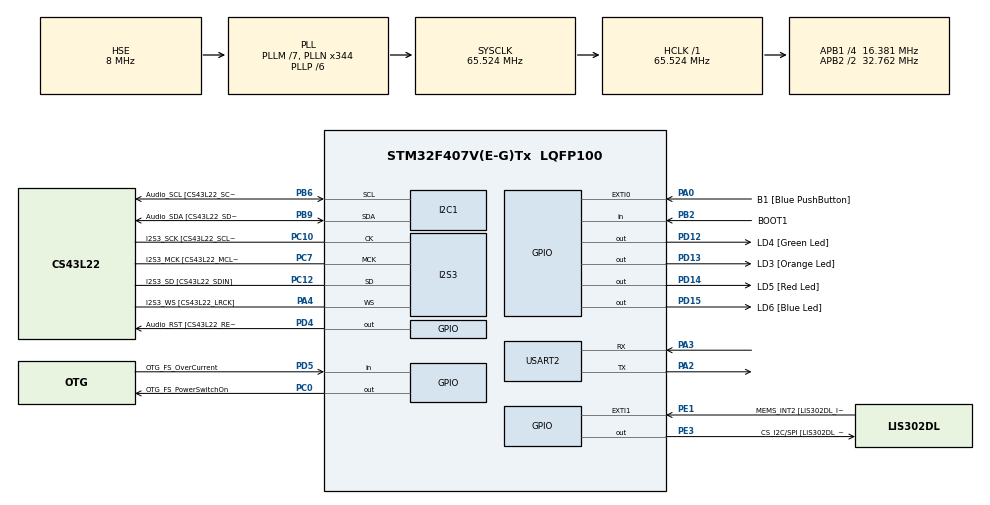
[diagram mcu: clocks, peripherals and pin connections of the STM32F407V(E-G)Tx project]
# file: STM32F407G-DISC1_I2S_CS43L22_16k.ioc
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Dma.Request0=SPI3_TX
Dma.SPI3_TX.0.Direction=DMA_MEMORY_TO_PERIPH
Dma.SPI3_TX.0.FIFOMode=DMA_FIFOMODE_DISABLE
Dma.SPI3_TX.0.Instance=DMA1_Stream5
Dma.SPI3_TX.0.MemDataAlignment=DMA_MDATAALIGN_HALFWORD
Dma.SPI3_TX.0.MemInc=DMA_MINC_ENABLE
Dma.SPI3_TX.0.Mode=DMA_CIRCULAR
Dma.SPI3_TX.0.PeriphDataAlignment=DMA_PDATAALIGN_HALFWORD
Dma.SPI3_TX.0.PeriphInc=DMA_PINC_DISABLE
Dma.SPI3_TX.0.Priority=DMA_PRIORITY_LOW
I2S3.AudioFreq=I2S_AUDIOFREQ_16K
I2S3.AudioFreq-Half_Duplex_Master=I2S_AUDIOFREQ_96K
I2S3.ErrorAudioFreq=-0.01 %
I2S3.ErrorAudioFreq-Half_Duplex_Master=0.8 %
I2S3.FullDuplexMode=I2S_FULLDUPLEXMODE_DISABLE
I2S3.Instance=SPI$Index
I2S3.RealAudioFreq=15.997 KHz
I2S3.RealAudioFreq-Half_Duplex_Master=96.774 KHz
I2S3.VirtualMode=I2S_MODE_MASTER
Mcu.Family=STM32F4
Mcu.Name=STM32F407V(E-G)Tx
Mcu.Package=LQFP100
NVIC.DMA1_Stream5_IRQn=true\:0\:0\:false\:false\:true\:false\:true\:true
NVIC.PriorityGroup=NVIC_PRIORITYGROUP_0
PA0-WKUP.GPIO_Label=B1 [Blue PushButton]
PA0-WKUP.GPIO_ModeDefaultEXTI=GPIO_MODE_EVT_RISING
PA0-WKUP.GPIO_PuPd=GPIO_NOPULL
PA0-WKUP.Signal=GPXTI0
PA13.GPIO_Label=SWDIO
PA13.Mode=Trace_Asynchronous_SW
PA13.Signal=SYS_JTMS-SWDIO
PA14.GPIO_Label=SWCLK
PA14.Mode=Trace_Asynchronous_SW
PA14.Signal=SYS_JTCK-SWCLK
PA2.Mode=Asynchronous
PA2.Signal=USART2_TX
PA3.Mode=Asynchronous
PA3.Signal=USART2_RX
PA4.GPIO_Label=I2S3_WS [CS43L22_LRCK]
PA4.GPIO_Mode=GPIO_MODE_AF_PP
PA4.GPIO_PuPd=GPIO_NOPULL
PA4.GPIO_Speed=GPIO_SPEED_FREQ_LOW
PA4.Mode=Half_Duplex_Master
PA4.Signal=I2S3_WS
PA5.GPIO_Label=SPI1_SCK [LIS302DL_SCL/SPC]
PA5.GPIO_Mode=GPIO_MODE_AF_PP
PA5.GPIO_PuPd=GPIO_NOPULL
PA5.GPIO_Speed=GPIO_SPEED_FREQ_LOW
PA5.Signal=SPI1_SCK
PA6.GPIO_Label=SPI1_MISO [LIS302DL_SDO]
PA6.GPIO_Mode=GPIO_MODE_AF_PP
PA6.GPIO_PuPd=GPIO_NOPULL
PA6.GPIO_Speed=GPIO_SPEED_FREQ_LOW
PA6.Signal=SPI1_MISO
PA7.GPIO_Label=SPI1_MOSI [LIS302DL_SDA/SDI/SDO]
PA7.GPIO_Mode=GPIO_MODE_AF_PP
PA7.GPIO_PuPd=GPIO_NOPULL
PA7.GPIO_Speed=GPIO_SPEED_FREQ_LOW
PA7.Signal=SPI1_MOSI
PB10.GPIO_Label=CLK_IN [MP45DT02_CLK]
PB10.GPIO_Mode=GPIO_MODE_AF_PP
PB10.GPIO_PuPd=GPIO_NOPULL
PB10.GPIO_Speed=GPIO_SPEED_FREQ_LOW
PB10.Signal=I2S2_CK
PB2.GPIO_Label=BOOT1
PB2.GPIO_Mode=GPIO_MODE_INPUT
PB2.GPIO_PuPd=GPIO_NOPULL
PB2.Signal=GPIO_Input
PB3.GPIO_Label=SWO
PB3.Mode=Trace_Asynchronous_SW
PB3.Signal=SYS_JTDO-SWO
PB6.GPIO_Label=Audio_SCL [CS43L22_SCL]
PB6.GPIO_Mode=GPIO_MODE_AF_OD
PB6.GPIO_Pu=GPIO_PULLUP
PB6.GPIO_PuPd=GPIO_NOPULL
PB6.GPIO_Speed=GPIO_SPEED_FREQ_LOW
PB6.Mode=I2C
PB6.Signal=I2C1_SCL
PB9.GPIO_Label=Audio_SDA [CS43L22_SDA]
PB9.GPIO_Mode=GPIO_MODE_AF_OD
PB9.GPIO_Pu=GPIO_PULLUP
PB9.GPIO_PuPd=GPIO_NOPULL
PB9.GPIO_Speed=GPIO_SPEED_FREQ_LOW
PB9.Mode=I2C
PB9.Signal=I2C1_SDA
PC0.GPIO_Label=OTG_FS_PowerSwitchOn
PC0.GPIO_PuPd=GPIO_NOPULL
PC0.GPIO_Speed=GPIO_SPEED_FREQ_LOW
PC0.PinState=GPIO_PIN_SET
PC0.Signal=GPIO_Output
PC10.GPIO_Label=I2S3_SCK [CS43L22_SCLK]
PC10.GPIO_Mode=GPIO_MODE_AF_PP
PC10.GPIO_PuPd=GPIO_NOPULL
PC10.GPIO_Speed=GPIO_SPEED_FREQ_LOW
PC10.Mode=Half_Duplex_Master
PC10.Signal=I2S3_CK
PC12.GPIO_Label=I2S3_SD [CS43L22_SDIN]
PC12.GPIO_Mode=GPIO_MODE_AF_PP
PC12.GPIO_PuPd=GPIO_NOPULL
PC12.GPIO_Speed=GPIO_SPEED_FREQ_LOW
PC12.Mode=Half_Duplex_Master
PC12.Signal=I2S3_SD
PC14-OSC32_IN.GPIO_Label=PC14-OSC32_IN
PC14-OSC32_IN.Mode=LSE-External-Oscillator
PC14-OSC32_IN.Signal=RCC_OSC32_IN
PC15-OSC32_OUT.GPIO_Label=PC15-OSC32_OUT
PC15-OSC32_OUT.Mode=LSE-External-Oscillator
PC15-OSC32_OUT.Signal=RCC_OSC32_OUT
PC3.GPIO_Label=PDM_OUT [MP45DT02_DOUT]
PC3.GPIO_Mode=GPIO_MODE_AF_PP
PC3.GPIO_PuPd=GPIO_NOPULL
PC3.GPIO_Speed=GPIO_SPEED_FREQ_LOW
PC3.Signal=I2S2_SD
PC7.GPIO_Label=I2S3_MCK [CS43L22_MCLK]
PC7.GPIO_Mode=GPIO_MODE_AF_PP
PC7.GPIO_PuPd=GPIO_NOPULL
PC7.GPIO_Speed=GPIO_SPEED_FREQ_LOW
PC7.Mode=Master_Clock_Activated
PC7.Signal=I2S3_MCK
PD12.GPIO_Label=LD4 [Green Led]
PD12.GPIO_PuPd=GPIO_NOPULL
PD12.GPIO_Speed=GPIO_SPEED_FREQ_LOW
PD12.Signal=GPIO_Output
PD13.GPIO_Label=LD3 [Orange Led]
PD13.GPIO_PuPd=GPIO_NOPULL
PD13.GPIO_Speed=GPIO_SPEED_FREQ_LOW
PD13.Signal=GPIO_Output
PD14.GPIO_Label=LD5 [Red Led]
PD14.GPIO_PuPd=GPIO_NOPULL
PD14.GPIO_Speed=GPIO_SPEED_FREQ_LOW
PD14.Signal=GPIO_Output
PD15.GPIO_Label=LD6 [Blue Led]
PD15.GPIO_PuPd=GPIO_NOPULL
PD15.GPIO_Speed=GPIO_SPEED_FREQ_LOW
PD15.Signal=GPIO_Output
PD4.GPIO_Label=Audio_RST [CS43L22_RESET]
PD4.GPIO_PuPd=GPIO_NOPULL
PD4.GPIO_Speed=GPIO_SPEED_FREQ_LOW
PD4.Signal=GPIO_Output
PD5.GPIO_Label=OTG_FS_OverCurrent
PD5.GPIO_Mode=GPIO_MODE_INPUT
PD5.GPIO_PuPd=GPIO_NOPULL
PD5.Signal=GPIO_Input
PE1.GPIO_Label=MEMS_INT2 [LIS302DL_INT2]
PE1.GPIO_ModeDefaultEXTI=GPIO_MODE_EVT_RISING
PE1.GPIO_PuPd=GPIO_NOPULL
PE1.Signal=GPXTI1
PE3.GPIO_Label=CS_I2C/SPI [LIS302DL_CS_I2C/SPI]
PE3.GPIO_PuPd=GPIO_NOPULL
PE3.GPIO_Speed=GPIO_SPEED_FREQ_LOW
PE3.Signal=GPIO_Output
PH0-OSC_IN.GPIO_Label=PH0-OSC_IN
PH0-OSC_IN.Mode=HSE-External-Oscillator
PH0-OSC_IN.Signal=RCC_OSC_IN
PH1-OSC_OUT.GPIO_Label=PH1-OSC_OUT
PH1-OSC_OUT.Mode=HSE-External-Oscillator
PH1-OSC_OUT.Signal=RCC_OSC_OUT
ProjectManager.HeapSize=0x200
ProjectManager.StackSize=0x400
ProjectManager.TargetToolchain=STM32CubeIDE
RCC.48MHZClocksFreq_Value=56163265.30612246
RCC.AHBFreq_Value=65523809.52380953
RCC.APB1CLKDivider=RCC_HCLK_DIV4
RCC.APB1Freq_Value=16380952.380952382
RCC.APB1TimFreq_Value=32761904.761904765
RCC.APB2CLKDivider=RCC_HCLK_DIV2
RCC.APB2Freq_Value=32761904.761904765
RCC.APB2TimFreq_Value=65523809.52380953
RCC.CortexFreq_Value=65523809.52380953
RCC.HCLKFreq_Value=65523809.52380953
RCC.HSE_VALUE=8000000
RCC.HSI_VALUE=16000000
RCC.PLLI2SN=344
RCC.PLLI2SR=6
RCC.PLLM=7
RCC.PLLN=344
RCC.PLLP=RCC_PLLP_DIV6
RCC.PLLQ=7
RCC.PLLSourceVirtual=RCC_PLLSOURCE_HSE
RCC.SYSCLKFreq_VALUE=65523809.52380953
RCC.SYSCLKSource=RCC_SYSCLKSOURCE_PLLCLK
RCC.VCOOutputFreq_Value=393142857.1428572
USART2.VirtualMode=VM_ASYNC
board=STM32F407G-DISC1

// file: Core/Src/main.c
/* USER CODE BEGIN Header */
/**
 ******************************************************************************
 * @file           : main.c
 * @brief          : Main program body
 ******************************************************************************
 * @attention
 *
 * Copyright (c) 2021 STMicroelectronics.
 * All rights reserved.
 *
 * This software is licensed under terms that can be found in the LICENSE file
 * in the root directory of this software component.
 * If no LICENSE file comes with this software, it is provided AS-IS.
 *
 ******************************************************************************
 */
/* USER CODE END Header */
#include "main.h"

/* USER CODE BEGIN Includes */

#include <stdio.h>
#include "MY_CS43L22.h"
#include <math.h>

/* USER CODE END Includes */

 I2C_HandleTypeDef hi2c1;

I2S_HandleTypeDef hi2s3;
DMA_HandleTypeDef hdma_spi3_tx;

UART_HandleTypeDef huart2;

/* USER CODE BEGIN PV */

#define PI 3.14159f

//Sample rate and Output freq
#define F_SAMPLE		16000.0f
#define F_OUT			2000.0f

float mySinVal;
float sample_dt;
uint16_t sample_N;
uint16_t i_t;

uint32_t myDacVal;

int16_t dataI2S[100];

/* USER CODE END PV */

void SystemClock_Config(void);
static void MX_GPIO_Init(void);
static void MX_I2C1_Init(void);
static void MX_DMA_Init(void);
static void MX_I2S3_Init(void);
static void MX_USART2_UART_Init(void);
/* USER CODE BEGIN PFP */

#define PUTCHAR_PROTOTYPE int __io_putchar(int ch)

/* USER CODE END PFP */

/* USER CODE BEGIN 0 */

float mySinVal;
float sample_dt;
uint16_t sample_N;
uint16_t i_t;

uint32_t myDacVal;

int16_t dataI2S[100];
/* USER CODE END 0 */

int main(void)
{
  /* USER CODE BEGIN 1 */

	sample_dt = F_OUT/F_SAMPLE;
	sample_N = F_SAMPLE/F_OUT;

  /* USER CODE END 1 */

  /* MCU Configuration--------------------------------------------------------*/

  /* Reset of all peripherals, Initializes the Flash interface and the Systick. */
  HAL_Init();

  /* Configure the system clock */
  SystemClock_Config();

  /* Initialize all configured peripherals */
  MX_GPIO_Init();
  MX_I2C1_Init();
  MX_DMA_Init();
  MX_I2S3_Init();
  MX_USART2_UART_Init();
  /* USER CODE BEGIN 2 */

	CS43_Init(hi2c1, MODE_I2S);
	CS43_SetVolume(40); //0 - 100,, 40
	CS43_Enable_RightLeft(CS43_RIGHT_LEFT);
	CS43_Start();

	//Build Sine wave
	printf("STM32F407G-DISC1_I2S_CS43L22_16k\n");
	printf("Sine wave using (int) ((mySinVal) * 8000) & sample_N = 16kHz samplnig rate\n");
	for(uint16_t i = 0; i < sample_N ; i++)
	{
		mySinVal = sinf(i*2*PI*sample_dt);
		dataI2S[i*2] = (mySinVal) * 8000;    //Right data (0 2 4 6 8 10 12 ... )
		dataI2S[i*2 + 1] = (mySinVal) * 8000; //Left data  (1 3 5 7 9 11 13 ... )
		printf("%d %d\n", i, (int)((mySinVal) * 8000) );
	}

	HAL_I2S_Transmit_DMA(&hi2s3, (uint16_t *)dataI2S, sample_N*2);

  /* USER CODE END 2 */

  /* Infinite loop */
	while (1) {

	}
}

void SystemClock_Config(void)
{
  RCC_OscInitTypeDef RCC_OscInitStruct = {0};
  RCC_ClkInitTypeDef RCC_ClkInitStruct = {0};

  /** Configure the main internal regulator output voltage
  */
  __HAL_RCC_PWR_CLK_ENABLE();
  __HAL_PWR_VOLTAGESCALING_CONFIG(PWR_REGULATOR_VOLTAGE_SCALE1);

  /** Initializes the RCC Oscillators according to the specified parameters
  * in the RCC_OscInitTypeDef structure.
  */
  RCC_OscInitStruct.OscillatorType = RCC_OSCILLATORTYPE_HSE;
  RCC_OscInitStruct.HSEState = RCC_HSE_ON;
  RCC_OscInitStruct.PLL.PLLState = RCC_PLL_ON;
  RCC_OscInitStruct.PLL.PLLSource = RCC_PLLSOURCE_HSE;
  RCC_OscInitStruct.PLL.PLLM = 7;
  RCC_OscInitStruct.PLL.PLLN = 344;
  RCC_OscInitStruct.PLL.PLLP = RCC_PLLP_DIV6;
  RCC_OscInitStruct.PLL.PLLQ = 7;
  if (HAL_RCC_OscConfig(&RCC_OscInitStruct) != HAL_OK)
  {
    Error_Handler();
  }

  /** Initializes the CPU, AHB and APB buses clocks
  */
  RCC_ClkInitStruct.ClockType = RCC_CLOCKTYPE_HCLK|RCC_CLOCKTYPE_SYSCLK
                              |RCC_CLOCKTYPE_PCLK1|RCC_CLOCKTYPE_PCLK2;
  RCC_ClkInitStruct.SYSCLKSource = RCC_SYSCLKSOURCE_PLLCLK;
  RCC_ClkInitStruct.AHBCLKDivider = RCC_SYSCLK_DIV1;
  RCC_ClkInitStruct.APB1CLKDivider = RCC_HCLK_DIV4;
  RCC_ClkInitStruct.APB2CLKDivider = RCC_HCLK_DIV2;

  if (HAL_RCC_ClockConfig(&RCC_ClkInitStruct, FLASH_LATENCY_2) != HAL_OK)
  {
    Error_Handler();
  }
}

static void MX_I2C1_Init(void)
{

  hi2c1.Instance = I2C1;
  hi2c1.Init.ClockSpeed = 100000;
  hi2c1.Init.DutyCycle = I2C_DUTYCYCLE_2;
  hi2c1.Init.OwnAddress1 = 0;
  hi2c1.Init.AddressingMode = I2C_ADDRESSINGMODE_7BIT;
  hi2c1.Init.DualAddressMode = I2C_DUALADDRESS_DISABLE;
  hi2c1.Init.OwnAddress2 = 0;
  hi2c1.Init.GeneralCallMode = I2C_GENERALCALL_DISABLE;
  hi2c1.Init.NoStretchMode = I2C_NOSTRETCH_DISABLE;
  if (HAL_I2C_Init(&hi2c1) != HAL_OK)
  {
    Error_Handler();
  }

}

static void MX_I2S3_Init(void)
{

  hi2s3.Instance = SPI3;
  hi2s3.Init.Mode = I2S_MODE_MASTER_TX;
  hi2s3.Init.Standard = I2S_STANDARD_PHILIPS;
  hi2s3.Init.DataFormat = I2S_DATAFORMAT_16B;
  hi2s3.Init.MCLKOutput = I2S_MCLKOUTPUT_ENABLE;
  hi2s3.Init.AudioFreq = I2S_AUDIOFREQ_16K;
  hi2s3.Init.CPOL = I2S_CPOL_LOW;
  hi2s3.Init.ClockSource = I2S_CLOCK_PLL;
  hi2s3.Init.FullDuplexMode = I2S_FULLDUPLEXMODE_DISABLE;
  if (HAL_I2S_Init(&hi2s3) != HAL_OK)
  {
    Error_Handler();
  }

}

static void MX_USART2_UART_Init(void)
{

  huart2.Instance = USART2;
  huart2.Init.BaudRate = 115200;
  huart2.Init.WordLength = UART_WORDLENGTH_8B;
  huart2.Init.StopBits = UART_STOPBITS_1;
  huart2.Init.Parity = UART_PARITY_NONE;
  huart2.Init.Mode = UART_MODE_TX_RX;
  huart2.Init.HwFlowCtl = UART_HWCONTROL_NONE;
  huart2.Init.OverSampling = UART_OVERSAMPLING_16;
  if (HAL_UART_Init(&huart2) != HAL_OK)
  {
    Error_Handler();
  }

}

static void MX_DMA_Init(void)
{

  /* DMA controller clock enable */
  __HAL_RCC_DMA1_CLK_ENABLE();

  /* DMA interrupt init */
  /* DMA1_Stream5_IRQn interrupt configuration */
  HAL_NVIC_SetPriority(DMA1_Stream5_IRQn, 0, 0);
  HAL_NVIC_EnableIRQ(DMA1_Stream5_IRQn);

}

static void MX_GPIO_Init(void)
{
  GPIO_InitTypeDef GPIO_InitStruct = {0};

  /* GPIO Ports Clock Enable */
  __HAL_RCC_GPIOE_CLK_ENABLE();
  __HAL_RCC_GPIOC_CLK_ENABLE();
  __HAL_RCC_GPIOH_CLK_ENABLE();
  __HAL_RCC_GPIOA_CLK_ENABLE();
  __HAL_RCC_GPIOB_CLK_ENABLE();
  __HAL_RCC_GPIOD_CLK_ENABLE();

  /*Configure GPIO pin Output Level */
  HAL_GPIO_WritePin(CS_I2C_SPI_GPIO_Port, CS_I2C_SPI_Pin, GPIO_PIN_RESET);

  /*Configure GPIO pin Output Level */
  HAL_GPIO_WritePin(OTG_FS_PowerSwitchOn_GPIO_Port, OTG_FS_PowerSwitchOn_Pin, GPIO_PIN_SET);

  /*Configure GPIO pin Output Level */
  HAL_GPIO_WritePin(GPIOD, LD4_Pin|LD3_Pin|LD5_Pin|LD6_Pin
                          |Audio_RST_Pin, GPIO_PIN_RESET);

  /*Configure GPIO pin : CS_I2C_SPI_Pin */
  GPIO_InitStruct.Pin = CS_I2C_SPI_Pin;
  GPIO_InitStruct.Mode = GPIO_MODE_OUTPUT_PP;
  GPIO_InitStruct.Pull = GPIO_NOPULL;
  GPIO_InitStruct.Speed = GPIO_SPEED_FREQ_LOW;
  HAL_GPIO_Init(CS_I2C_SPI_GPIO_Port, &GPIO_InitStruct);

  /*Configure GPIO pin : OTG_FS_PowerSwitchOn_Pin */
  GPIO_InitStruct.Pin = OTG_FS_PowerSwitchOn_Pin;
  GPIO_InitStruct.Mode = GPIO_MODE_OUTPUT_PP;
  GPIO_InitStruct.Pull = GPIO_NOPULL;
  GPIO_InitStruct.Speed = GPIO_SPEED_FREQ_LOW;
  HAL_GPIO_Init(OTG_FS_PowerSwitchOn_GPIO_Port, &GPIO_InitStruct);

  /*Configure GPIO pin : PDM_OUT_Pin */
  GPIO_InitStruct.Pin = PDM_OUT_Pin;
  GPIO_InitStruct.Mode = GPIO_MODE_AF_PP;
  GPIO_InitStruct.Pull = GPIO_NOPULL;
  GPIO_InitStruct.Speed = GPIO_SPEED_FREQ_LOW;
  GPIO_InitStruct.Alternate = GPIO_AF5_SPI2;
  HAL_GPIO_Init(PDM_OUT_GPIO_Port, &GPIO_InitStruct);

  /*Configure GPIO pin : B1_Pin */
  GPIO_InitStruct.Pin = B1_Pin;
  GPIO_InitStruct.Mode = GPIO_MODE_EVT_RISING;
  GPIO_InitStruct.Pull = GPIO_NOPULL;
  HAL_GPIO_Init(B1_GPIO_Port, &GPIO_InitStruct);

  /*Configure GPIO pins : SPI1_SCK_Pin SPI1_MISO_Pin SPI1_MOSI_Pin */
  GPIO_InitStruct.Pin = SPI1_SCK_Pin|SPI1_MISO_Pin|SPI1_MOSI_Pin;
  GPIO_InitStruct.Mode = GPIO_MODE_AF_PP;
  GPIO_InitStruct.Pull = GPIO_NOPULL;
  GPIO_InitStruct.Speed = GPIO_SPEED_FREQ_LOW;
  GPIO_InitStruct.Alternate = GPIO_AF5_SPI1;
  HAL_GPIO_Init(GPIOA, &GPIO_InitStruct);

  /*Configure GPIO pin : BOOT1_Pin */
  GPIO_InitStruct.Pin = BOOT1_Pin;
  GPIO_InitStruct.Mode = GPIO_MODE_INPUT;
  GPIO_InitStruct.Pull = GPIO_NOPULL;
  HAL_GPIO_Init(BOOT1_GPIO_Port, &GPIO_InitStruct);

  /*Configure GPIO pin : CLK_IN_Pin */
  GPIO_InitStruct.Pin = CLK_IN_Pin;
  GPIO_InitStruct.Mode = GPIO_MODE_AF_PP;
  GPIO_InitStruct.Pull = GPIO_NOPULL;
  GPIO_InitStruct.Speed = GPIO_SPEED_FREQ_LOW;
  GPIO_InitStruct.Alternate = GPIO_AF5_SPI2;
  HAL_GPIO_Init(CLK_IN_GPIO_Port, &GPIO_InitStruct);

  /*Configure GPIO pins : LD4_Pin LD3_Pin LD5_Pin LD6_Pin
                           Audio_RST_Pin */
  GPIO_InitStruct.Pin = LD4_Pin|LD3_Pin|LD5_Pin|LD6_Pin
                          |Audio_RST_Pin;
  GPIO_InitStruct.Mode = GPIO_MODE_OUTPUT_PP;
  GPIO_InitStruct.Pull = GPIO_NOPULL;
  GPIO_InitStruct.Speed = GPIO_SPEED_FREQ_LOW;
  HAL_GPIO_Init(GPIOD, &GPIO_InitStruct);

  /*Configure GPIO pin : OTG_FS_OverCurrent_Pin */
  GPIO_InitStruct.Pin = OTG_FS_OverCurrent_Pin;
  GPIO_InitStruct.Mode = GPIO_MODE_INPUT;
  GPIO_InitStruct.Pull = GPIO_NOPULL;
  HAL_GPIO_Init(OTG_FS_OverCurrent_GPIO_Port, &GPIO_InitStruct);

  /*Configure GPIO pin : MEMS_INT2_Pin */
  GPIO_InitStruct.Pin = MEMS_INT2_Pin;
  GPIO_InitStruct.Mode = GPIO_MODE_EVT_RISING;
  GPIO_InitStruct.Pull = GPIO_NOPULL;
  HAL_GPIO_Init(MEMS_INT2_GPIO_Port, &GPIO_InitStruct);

}

/* USER CODE BEGIN 4 */

PUTCHAR_PROTOTYPE {
	/* Place your implementation of fputc here */
	/* e.g. write a character to the LPUART1 and Loop until the end of transmission */
	HAL_UART_Transmit(&huart2, (uint8_t*) &ch, 1, 0xFFFF);

	return ch;
}

/* USER CODE END 4 */

void Error_Handler(void)
{
	__disable_irq();
	while (1) {
	}
}
